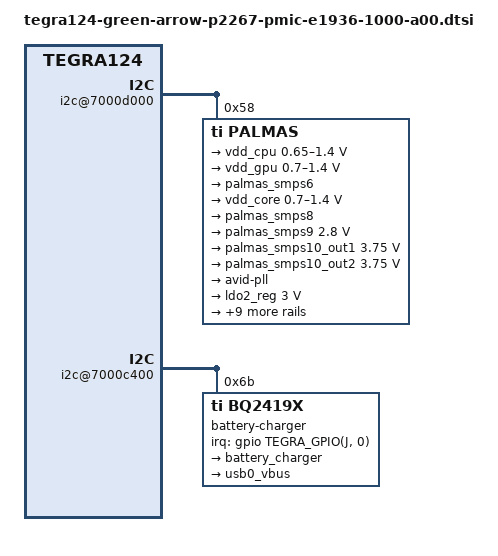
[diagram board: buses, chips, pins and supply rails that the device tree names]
/*
 * tegra124-green-arrow-p2267-pmic-e1936-1000-a00.dtsi: Palmas PMIC
 *
 * Copyright (c) 2015, NVIDIA CORPORATION.  All rights reserved.
 *
 * This program is free software; you can redistribute it and/or modify it
 * under the terms and conditions of the GNU General Public License,
 * version 2, as published by the Free Software Foundation.
 *
 * This program is distributed in the hope it will be useful, but WITHOUT
 * ANY WARRANTY; without even the implied warranty of MERCHANTABILITY or
 * FITNESS FOR A PARTICULAR PURPOSE.  See the GNU General Public License for
 * more details.
 */

#include <dt-bindings/gpio/tegra-gpio.h>
#include <dt-bindings/mfd/palmas.h>

/ {
	i2c@7000d000 {
		palmas: tps65913 {
			compatible = "ti,palmas";
			reg = <0x58>;
			interrupts = <0 86 0>;

			#interrupt-cells = <2>;
			interrupt-controller;

			palmas_gpio: gpio {
				compatible = "ti,palmas-gpio";
				gpio-controller;
				#gpio-cells = <2>;
			};

			rtc {
				compatible = "ti,palmas-rtc";
				interrupt-parent = <&palmas>;
				interrupts = <8 0>;
			};

			palams_thermal: thermal {
				compatible = "ti,palmas-thermal";
				#thermal-sensor-cells = <0>;
				interrupt-parent = <&palmas>;
				interrupts = <5 0>;
				ti,hot-die-threshold-temp = <120000>;
				status = "disabled";
			};

			pinmux {
				compatible = "ti,tps65913-pinctrl";
				pinctrl-names = "default";
				pinctrl-0 = <&palmas_default>;

				palmas_default: pinmux {
					powergood {
						pins = "powergood";
						function = "powergood";
					};

					vac {
						pins = "vac";
						function = "vac";
					};

					pin_gpio0 {
						pins = "gpio0";
						function = "id";
						bias-pull-up;
					};

					pin_gpio1 {
						pins = "gpio1";
						function = "gpio";
						bias-pull-up;
					};

					pin_gpio6 {
						pins = "gpio2", "gpio3", "gpio4", "gpio6", "gpio7";
						function = "gpio";
					};

					pin_gpio5 {
						pins = "gpio5";
						function = "clk32kgaudio";
					};
				};
			};

			palmas_extcon: extcon {
				compatible = "ti,palmas-usb";
				ti,wakeup;
				#extcon-cells = <1>;
				ti,enable-id-detection;
				ti,enable-vbus-detection;
			};

			watchdog {
				compatible = "ti,palmas-watchdog";
				ti,watchdog-init-timeout = <600>;
				ti,watchdog-interrupt-mode;
				dt-override-status-odm-data = <0x80000000 0x80000000>;
				status = "disabled";
			};

			power_pm {
				compatible = "ti,palmas-pm";
				system-pmic-power-off;
			};

			palmas_ldousb_in {
				compatible = "ti,palmas-ldousb-in";
				ti,ldousb-in-threshold-voltage = <3500000>;
				ti,threshold-voltage-tolerance = <100000>;
				ti,enable-in1-above-threshold;
				ldousb-in1-supply = <&vdd_ac_bat_reg>;
				ldousb-in2-supply = <&palmas_smps10_out2>;
			};

			palams_gpadc: gpadc {
				compatible = "ti,palmas-gpadc";
				interrupt-parent = <&palmas>;
				interrupts = <18 0
					      16 0
					      17 0>;
				ti,channel0-current-microamp = <5>;
				ti,channel3-current-microamp = <400>;
				ti,enable-channel3-dual-current;
				ti,enable-extended-delay;
				#io-channel-cells = <1>;
			};

                        clock {
                                compatible = "ti,palmas-clk";

                                clk32k_kg {
                                        ti,clock-boot-enable;
                                };

                                clk32k_kg_audio {
                                        ti,clock-boot-enable;
                                };
                        };

			pmic {
				compatible = "ti,tps65913-pmic", "ti,palmas-pmic";
				ldo1-in-supply = <&palmas_smps6>;
				ldo2-in-supply = <&palmas_smps10_out2>;
				ldo3-in-supply = <&palmas_smps10_out2>;
				ldo5-in-supply = <&palmas_smps8>;
				ldo9-in-supply = <&palmas_smps9>;
				ldoln-in-supply = <&palmas_smps10_out2>;
				ldousb-in-supply = <&palmas_smps10_out2>;

				regulators {
					smps123 {
						regulator-name = "vdd_cpu";
						regulator-min-microvolt = <650000>;
						regulator-max-microvolt = <1400000>;
						regulator-always-on;
						regulator-boot-on;
						ti,roof-floor = <PALMAS_EXT_CONTROL_ENABLE1>;
						ti,config-flags = <8>;
					};

					smps45 {
						regulator-name = "vdd_gpu";
						regulator-min-microvolt = <700000>;
						regulator-max-microvolt = <1400000>;
						regulator-init-microvolt = <1000000>;
						regulator-boot-on;
						ti,roof-floor = <PALMAS_EXT_CONTROL_ENABLE2>;
						ti,ext-enable-gpio = <&gpio TEGRA_GPIO(R, 5) 0>;
					};

					palmas_smps6: smps6 {
						regulator-name = "vddio-ddr";
						regulator-always-on;
						regulator-boot-on;
					};

					smps7 {
						regulator-name = "vdd_core";
						regulator-min-microvolt = <700000>;
						regulator-max-microvolt = <1400000>;
						regulator-always-on;
						regulator-boot-on;
						ti,roof-floor = <PALMAS_EXT_CONTROL_NSLEEP>;
					};

					palmas_smps8: smps8 {
						regulator-name = "vdd-1v8";
						regulator-always-on;
						regulator-boot-on;
						consumers {
							c1 {
								regulator-consumer-supply = "vddio_sdmmc";
								regulator-consumer-device = "sdhci-tegra.0";
							};
							c2 {
								regulator-consumer-supply = "vddio_sdmmc";
								regulator-consumer-device = "sdhci-tegra.3";
							};
							c3 {
								regulator-consumer-supply = "avdd_pll_utmip";
								regulator-consumer-device = "tegra-ehci.0";
							};
						};
					};

					palmas_smps9: smps9 {
						regulator-name = "vdd-snsr";
						regulator-min-microvolt = <2800000>;
						regulator-max-microvolt = <2800000>;
						regulator-always-on;
						regulator-boot-on;
						ti,roof-floor = <PALMAS_EXT_CONTROL_NSLEEP>;
						consumers {
							c1 {
								regulator-consumer-supply = "vddio_sd_slot";
								regulator-consumer-device = "sdhci-tegra.3";
							};
							c2 {
								regulator-consumer-supply = "vddio_sd_slot";
								regulator-consumer-device = "sdhci-tegra.2";
							};
						};
					};

					palmas_smps10_out1: smps10_out1 {
						regulator-name = "vdd-out1-5v0";
						regulator-min-microvolt = <3750000>;
						regulator-max-microvolt = <3750000>;
					};

					palmas_smps10_out2: smps10_out2 {
						regulator-name = "vdd-out2-5v0";
						regulator-min-microvolt = <3750000>;
						regulator-max-microvolt = <3750000>;
						regulator-always-on;
						regulator-boot-on;
						regulator-disable-on-suspend;
					};

					ldo1 {
						regulator-name = "avid-pll";
						regulator-always-on;
						regulator-boot-on;
						ti,roof-floor = <PALMAS_EXT_CONTROL_NSLEEP>;
					};

					ldo2_reg: ldo2 {
						regulator-name = "avdd-lcd";
						regulator-min-microvolt = <3000000>;
						regulator-max-microvolt = <3000000>;
					};

					ldo3_reg: ldo3 {
						regulator-name = "vdd-touch";
						regulator-min-microvolt = <3300000>;
						regulator-max-microvolt = <3300000>;
					};

					ldo4_reg: ldo4 {
						regulator-name = "avdd-cam1";
						regulator-min-microvolt = <2700000>;
						regulator-max-microvolt = <2700000>;
					};

					ldo5_reg: ldo5 {
						regulator-name = "avdd-dsi-csi";
						regulator-min-microvolt = <1200000>;
						regulator-max-microvolt = <1200000>;
					};

					vpp_fuse: ldo6 {
						regulator-name = "vpp-fuse";
						regulator-min-microvolt = <1800000>;
						regulator-max-microvolt = <1800000>;
					};

					ldo7_reg: ldo7 {
						regulator-name = "avdd-cam-af";
						regulator-min-microvolt = <2700000>;
						regulator-max-microvolt = <2700000>;
					};

					ldo8 {
						regulator-name = "vdd-rtc";
						regulator-min-microvolt = <950000>;
						regulator-max-microvolt = <950000>;
						regulator-always-on;
						regulator-boot-on;
					};

					palmas_ldo9: ldo9 {
						regulator-name = "vddio-sdmmc-2";
						regulator-min-microvolt = <1800000>;
						regulator-max-microvolt = <3300000>;
						ti,bypass-voltage = <2700000>;
						consumers {
							c1 {
								regulator-consumer-supply = "vddio_sdmmc";
								regulator-consumer-device = "sdhci-tegra.2";
							};
						};
					};

					ldoln_reg: ldoln {
						regulator-name = "vddio-hv";
						regulator-always-on;
						regulator-boot-on;
						ti,roof-floor = <PALMAS_EXT_CONTROL_NSLEEP>;
					};

					ldousb_reg: ldousb {
						regulator-name = "avdd-usb";
						regulator-always-on;
						regulator-boot-on;
						consumers {
							c1 {
								regulator-consumer-supply = "avdd_usb";
								regulator-consumer-device = "tegra-ehci.0";
							};
						};
					};
				};
			};
		};
	};

	i2c@7000c400 {
		battery-charger@6b {
			compatible = "ti,bq2419x";
			reg = <0x6b>;

			interrupt-parent = <&gpio>;
			interrupts = <TEGRA_GPIO(J, 0) 0x0>;

			battery_charger: charger {
				status = "disabled";
				dt-override-status-odm-data = <0x00C00000 0x00400000>;
				regulator-name = "batt_regulator";
				regulator-max-microamp = <3000000>;
				ti,disbale-suspend-during-charging;
				ti,charge-voltage-limit-millivolt = <4352>;
				ti,charge-term-current-limit-milliamp = <128>;
				ti,ir-comp-voltage-millivolt = <1>;
				ti,ir-comp-resister-ohm = <1>;
				ti,pre-charge-current-limit-milliamp = <256>;
				ti,thermal-regulation-threshold-degc = <120>;
			};

			usb0_vbus: vbus {
				regulator-name = "vbus_regulator";
				ti,otg-iusb-gpio = <&gpio TEGRA_GPIO(I, 4) 0>;
			};
		};

		battery-gauge@55 {
			status = "disabled";
			dt-override-status-odm-data = <0x00C00000 0x00400000>;
			compatible = "ti,bq27441";
			reg = <0x55>;
			interrupt-parent = <&gpio>;
			interrupts = <TEGRA_GPIO(Q, 5) 0x0>;
			ti,design-capacity = <5200>;
			ti,design-energy = <19760>;
			ti,taper-rate = <318>;
			ti,terminate-voltage = <2700>;
			ti,v-at-chg-term = <4340>;
		};
	};
};
